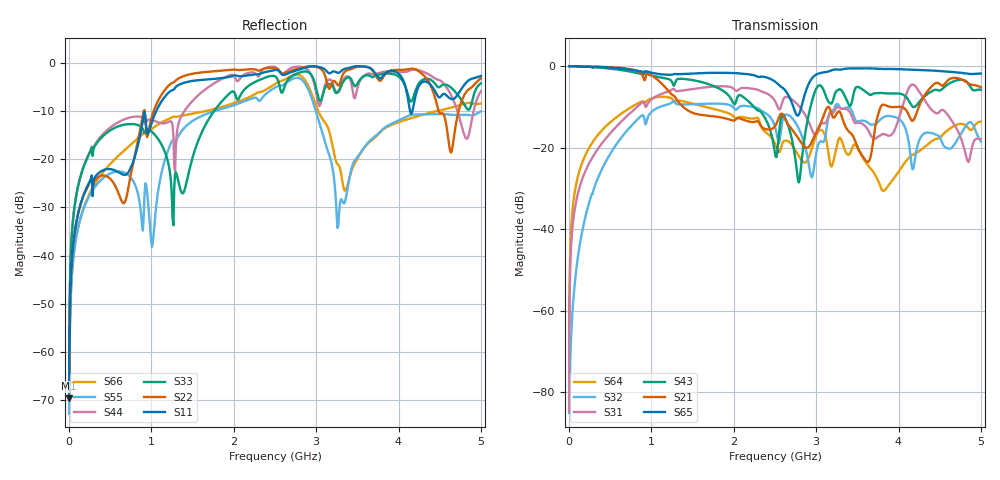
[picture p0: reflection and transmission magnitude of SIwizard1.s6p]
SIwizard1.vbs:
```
' ----------------------------------------------
' Script generated by SIwave - SI Wizard with Netlist
' Tue Apr 20 08:41:24 2021
' ----------------------------------------------
Dim oAnsoftApp
Dim oDesktop
Dim oProject
Dim oDesign
Dim oModule
Set oAnsoftApp = CreateObject("Ansoft.ElectronicsDesktop.2020.2")
Set oDesktop = oAnsoftApp.GetAppDesktop()
oDesktop.RestoreWindow

Set oProject = oDesktop.OpenProject("C:/Users/guven/Desktop/-AESK-/ALL Documents/Drive Electric 2020/Elektrik/Motor Driver/BLDC Driver/[1] Hardware/[1] Power/Project Outputs for Power/odb/SIWAWE DENEME1.siwaveresults/Designer/SIwizard1.aedt")
Set oDesign = oProject.SetActiveDesign("SIWAWE DENEME1_SIwizard1")

oDesign.Analyze

'CREATE A REPORT FOR RECEIVER INPUT VOLTAGE WAVEFORMS
Set oModule = oDesign.GetModule("ReportSetup")
oModule.CreateReport "Voltage Waveforms at Receivers", "Standard", "Rectangular Plot", "TRAN", Array("NAME:Context", "SimValueContext:=", Array( _
  1, 0, 2, 0, false, false, -1, 1, 0, 1, 1, "", 0, 0, "DE", false, "0", "DP",  _
  false, "20000000", "DT", false, "0.001", "WE", false, "2.5E-08", "WM", false,  _
  "2.5E-08", "WN", false, "0", "WS", false, "0s")), Array("Time:=", Array("All")), Array("X Component:=",  _
  "Time", "Y Component:=", _
  Array( _
  "V(CS_PHASE_B_3_1x3_PIN_PHASE_B)", _
  "V(CS_PHASE_B_3_ACS770LCB-050B-PFF-T_U3)", _
  "V(CS_PHASE_A_3_1x3_PIN_PHASE_A)", _
  "V(CS_PHASE_A_3_ACS770LCB-050B-PFF-T_U1)", _
  "V(CS_PHASE_C_3_1x3_PIN_PHASE_C)", _
  "V(CS_PHASE_C_3_ACS770LCB-050B-PFF-T_U4)"  _
  )), Array()
oProject.Save
```
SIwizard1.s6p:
! Touchstone(R) file created by SIwave 2020 R2
! Touchstone(R) file created on Tue Apr 20 08:41:09 2021
! Port[1] = CS_PHASE_A_3_1x3_PIN_PHASE_A
! Port[2] = CS_PHASE_A_3_ACS770LCB-050B-PFF-T_U1
! Port[3] = CS_PHASE_B_3_1x3_PIN_PHASE_B
! Port[4] = CS_PHASE_B_3_ACS770LCB-050B-PFF-T_U3
! Port[5] = CS_PHASE_C_3_1x3_PIN_PHASE_C
! Port[6] = CS_PHASE_C_3_ACS770LCB-050B-PFF-T_U4
! S-parameters
# Hz S MA R 50.000000
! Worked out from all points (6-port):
!   826 points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, 1 Hz to 5 GHz, reference 50 ohm
!   strongest paths, dB at 1 Hz, 19.95 kHz, 875.9 MHz, 2.938 GHz, 5 GHz:
!     S65: 0.0, 0.0, -1.3, -3.3, -1.8
!     S21: 0.0, 0.0, -1.8, -18.9, -5.1
!     S43: 0.0, 0.0, -1.9, -9.4, -5.8
!     S31: -84.8, -83.7, -9.1, -15.0, -17.9
!     S32: -84.8, -83.9, -12.2, -27.0, -18.5
!     S64: -78.7, -78.7, -8.7, -20.8, -13.6
!   lowest |S11| = -69.6 dB at 1 Hz (marker M1), VSWR 1.00, Z = 50 + j2.82e-05 ohm
!   |S11| at or under -10 dB: start of sweep to 1.059 GHz; 4.14 GHz to 4.169 GHz (29.56 MHz wide, 0.712 % of centre)
